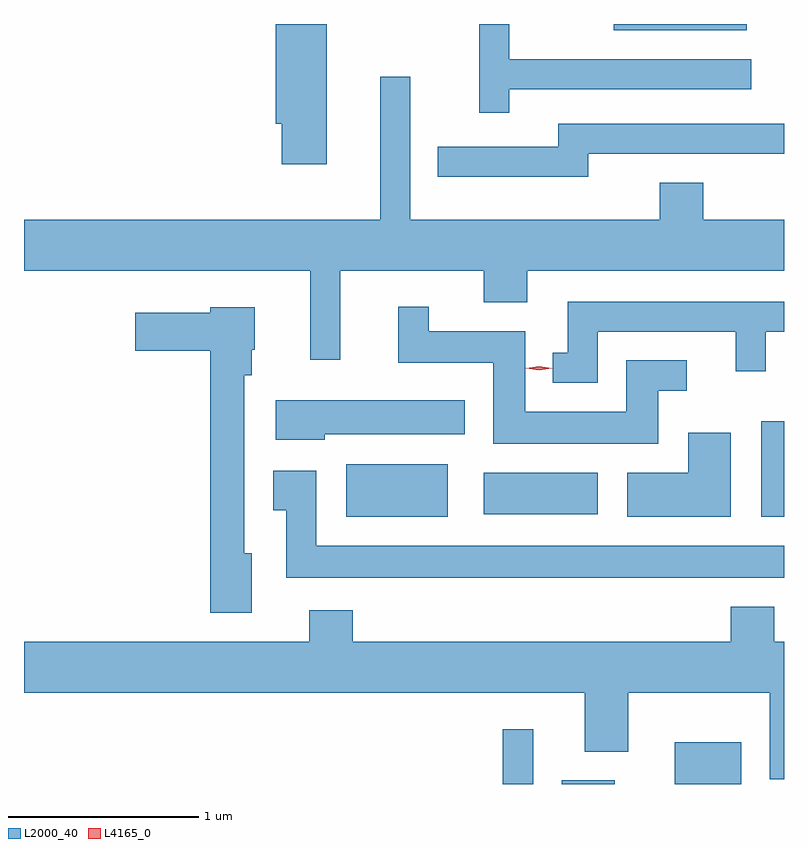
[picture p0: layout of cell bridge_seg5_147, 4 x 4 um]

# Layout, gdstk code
import gdstk
lib = gdstk.Library(unit=1e-6, precision=1e-09)
def R(c, l, rs):  # rectangles x0, y0, x1, y1
    for r in rs: c.add(gdstk.rectangle(r[:2], r[2:], *l))
def P(c, l, *ps):  # polygons
    for p in ps: c.add(gdstk.Polygon(p, *l))
L2000_40 = (2000, 40)
L4165_0 = (4165, 0)

bridge_seg5_147 = lib.new_cell('bridge_seg5_147')
R(bridge_seg5_147, L2000_40, [(1097.801,1400.815,1097.959,1401.103), (1098.111,1400.815,1098.389,1400.834), (1098.706,1400.815,1099.054,1401.034), (1096.976,1402.221,1097.509,1402.499), (1099.161,1402.221,1099.28,1402.724), (1097.701,1402.236,1098.299,1402.454), (1098.383,1404.781,1099.084,1404.815)])
P(bridge_seg5_147, L2000_40, [(1097.834,1404.471),(1099.108,1404.471),(1099.108,1404.629),(1097.834,1404.629),(1097.834,1404.815),(1097.676,1404.815),(1097.676,1404.348),(1097.834,1404.348)],
  [(1096.874,1404.815),(1096.606,1404.815),(1096.606,1404.291),(1096.636,1404.291),(1096.636,1404.076),(1096.874,1404.076)],
  [(1096.944,1403.516),(1097.701,1403.516),(1097.701,1403.351),(1097.929,1403.351),(1097.929,1403.516),(1099.28,1403.516),(1099.28,1403.784),(1098.854,1403.784),(1098.854,1403.979),(1098.626,1403.979),(1098.626,1403.784),(1097.314,1403.784),(1097.314,1404.538),(1097.156,1404.538),(1097.156,1403.784),(1095.28,1403.784),(1095.28,1403.516),(1096.786,1403.516),(1096.786,1403.048),(1096.944,1403.048)],
  [(1098.249,1404.131),(1099.28,1404.131),(1099.28,1404.289),(1098.091,1404.289),(1098.091,1404.169),(1097.458,1404.169),(1097.458,1404.011),(1098.249,1404.011)],
  [(1098.299,1403.196),(1099.026,1403.196),(1099.026,1402.988),(1099.184,1402.988),(1099.184,1403.196),(1099.28,1403.196),(1099.28,1403.354),(1098.141,1403.354),(1098.141,1403.084),(1098.063,1403.084),(1098.063,1402.926),(1098.299,1402.926)],
  [(1098.619,1402.886),(1098.768,1402.886),(1098.768,1403.044),(1098.451,1403.044),(1098.451,1402.774),(1097.919,1402.774),(1097.919,1403.199),(1097.409,1403.199),(1097.409,1403.328),(1097.251,1403.328),(1097.251,1403.031),(1097.751,1403.031),(1097.751,1402.606),(1098.619,1402.606)],
  [(1096.479,1402.029),(1096.439,1402.029),(1096.439,1402.966),(1096.479,1402.966),(1096.479,1403.1),(1096.494,1403.1),(1096.494,1403.324),(1096.261,1403.324),(1096.261,1403.294),(1095.866,1403.294),(1095.866,1403.096),(1096.261,1403.096),(1096.261,1401.716),(1096.479,1401.716)],
  [(1096.864,1402.656),(1097.599,1402.656),(1097.599,1402.834),(1096.606,1402.834),(1096.606,1402.626),(1096.864,1402.626)],
  [(1098.999,1402.664),(1098.776,1402.664),(1098.776,1402.454),(1098.456,1402.454),(1098.456,1402.221),(1098.999,1402.221)],
  [(1099.28,1402.069),(1096.819,1402.069),(1096.819,1402.464),(1096.591,1402.464),(1096.591,1402.256),(1096.661,1402.256),(1096.661,1401.901),(1099.28,1401.901)],
  [(1099.28,1401.564),(1099.229,1401.564),(1099.229,1401.749),(1099.001,1401.749),(1099.001,1401.564),(1097.009,1401.564),(1097.009,1401.729),(1096.781,1401.729),(1096.781,1401.564),(1095.28,1401.564),(1095.28,1401.296),(1098.231,1401.296),(1098.231,1400.986),(1098.459,1400.986),(1098.459,1401.296),(1099.206,1401.296),(1099.206,1400.841),(1099.28,1400.841)])
P(bridge_seg5_147, L4165_0, [(1097.992,1402.993),(1097.922,1403.002),(1097.922,1403.002),(1097.922,1403.003),(1097.992,1403.013),(1098.061,1403.003),(1098.061,1403.003),(1098.061,1403.002)])

lib.write_gds('bridge_seg5_147.gds')
